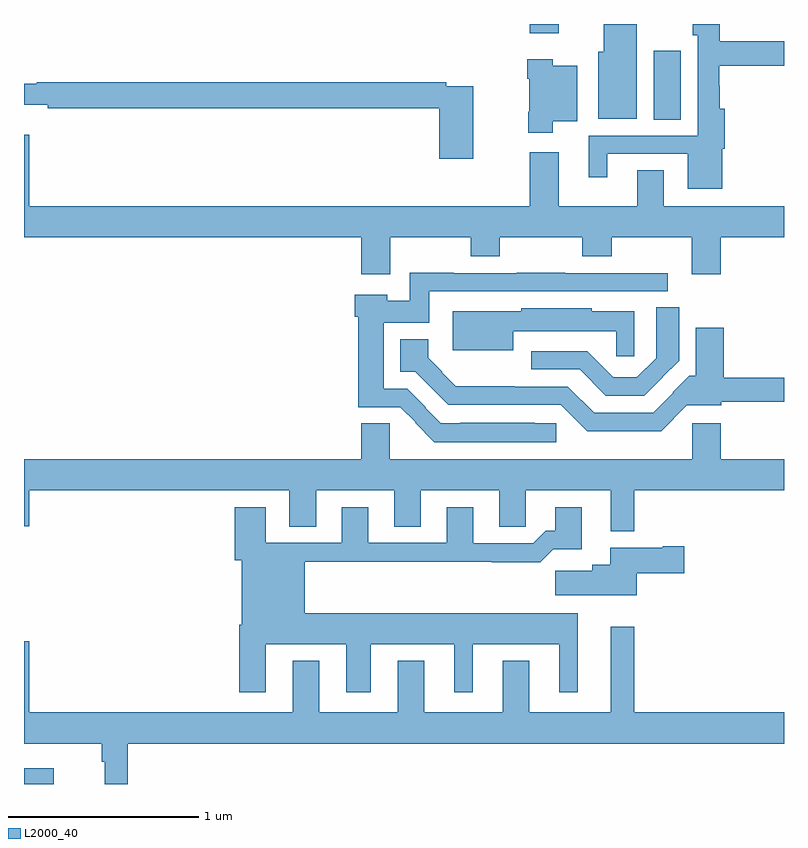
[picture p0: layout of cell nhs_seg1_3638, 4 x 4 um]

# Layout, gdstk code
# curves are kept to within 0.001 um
import gdstk
lib = gdstk.Library(unit=1e-6, precision=1e-09)
def R(c, l, rs):  # rectangles x0, y0, x1, y1
    for r in rs: c.add(gdstk.rectangle(r[:2], r[2:], *l))
def P(c, l, *ps):  # polygons
    for p in ps: c.add(gdstk.Polygon(p, *l))
L2000_40 = (2000, 40)

nhs_seg1_3638 = lib.new_cell('nhs_seg1_3638')
R(nhs_seg1_3638, L2000_40, [(309,538.199,309.157,538.282), (312.314,541.696,312.457,542.059), (311.663,542.151,311.815,542.199)])
P(nhs_seg1_3638, L2000_40, [(312.676,541.542),(312.689,541.542),(312.689,541.753),(312.662,541.753),(312.662,541.875),(312.658,541.875),(312.658,541.978),(313,541.978),(313,542.107),(312.662,542.107),(312.662,542.199),(312.52,542.199),(312.52,542.139),(312.546,542.139),(312.546,541.611),(311.972,541.611),(311.972,541.392),(312.07,541.392),(312.07,541.515),(312.494,541.515),(312.494,541.331),(312.676,541.331)],
  [(312.226,542.199),(312.05,542.199),(312.05,542.052),(312.023,542.052),(312.023,541.7),(312.226,541.7)],
  [(311.782,541.688),(311.911,541.688),(311.911,541.978),(311.782,541.978),(311.782,542.014),(311.648,542.014),(311.648,541.91),(311.66,541.91),(311.66,541.738),(311.653,541.738),(311.653,541.626),(311.782,541.626)],
  [(311.364,541.872),(311.222,541.872),(311.222,541.892),(309.068,541.892),(309.068,541.885),(309,541.885),(309,541.775),(309.124,541.775),(309.124,541.756),(311.186,541.756),(311.186,541.491),(311.364,541.491)],
  [(309.028,541.615),(309,541.615),(309,541.076),(310.775,541.076),(310.775,540.882),(310.927,540.882),(310.927,541.076),(311.35,541.076),(311.35,540.977),(311.505,540.977),(311.505,541.076),(311.938,541.076),(311.938,540.977),(312.093,540.977),(312.093,541.076),(312.515,541.076),(312.515,540.882),(312.668,540.882),(312.668,541.076),(313,541.076),(313,541.24),(312.367,541.24),(312.367,541.43),(312.227,541.43),(312.227,541.24),(311.815,541.24),(311.815,541.525),(311.663,541.525),(311.663,541.24),(309.028,541.24)],
  [(311.8,540.099),(311.193,540.099),(311.112,540.18),(311.114,540.182),(311.017,540.279),(310.894,540.279),(310.894,540.626),(311.134,540.626),(311.134,540.792),(312.388,540.792),(312.388,540.888),(311.849,540.888),(311.849,540.89),(311.593,540.89),(311.593,540.888),(311.261,540.888),(311.261,540.89),(311.03,540.89),(311.03,540.742),(310.912,540.742),(310.912,540.775),(310.742,540.775),(310.742,540.657),(310.76,540.657),(310.76,540.183),(310.98,540.183),(311.061,540.102),(311.059,540.1),(311.16,539.999),(311.8,539.999)],
  [(312.361,540.339),(312.448,540.427),(312.448,540.707),(312.327,540.707),(312.327,540.441),(312.225,540.339),(312.102,540.339),(311.964,540.477),(311.67,540.477),(311.67,540.381),(311.924,540.381),(312.062,540.243),(312.265,540.243)],
  [(312.212,540.688),(311.988,540.688),(311.988,540.703),(311.616,540.703),(311.616,540.688),(311.256,540.688),(311.256,540.482),(311.575,540.482),(311.575,540.581),(312.118,540.581),(312.118,540.45),(312.212,540.45)],
  [(312.489,540.192),(312.67,540.192),(312.67,540.21),(313,540.21),(313,540.338),(312.683,540.338),(312.683,540.601),(312.536,540.601),(312.536,540.349),(312.502,540.349),(312.414,540.261),(312.417,540.258),(312.312,540.153),(312,540.153),(311.862,540.291),(311.582,540.291),(311.582,540.293),(311.273,540.293),(311.198,540.367),(311.201,540.37),(311.128,540.443),(311.128,540.541),(310.979,540.541),(310.979,540.368),(311.059,540.368),(311.234,540.195),(311.826,540.195),(311.965,540.056),(312.353,540.056)],
  [(310.926,540.098),(310.775,540.098),(310.775,539.908),(309,539.908),(309,539.556),(309.028,539.556),(309.028,539.744),(310.397,539.744),(310.397,539.554),(310.537,539.554),(310.537,539.744),(310.949,539.744),(310.949,539.554),(311.089,539.554),(311.089,539.744),(311.501,539.744),(311.501,539.554),(311.64,539.554),(311.64,539.744),(312.089,539.744),(312.089,539.528),(312.211,539.528),(312.211,539.744),(313,539.744),(313,539.908),(312.668,539.908),(312.668,540.099),(312.517,540.099),(312.517,539.908),(310.926,539.908)],
  [(310.273,538.934),(310.697,538.934),(310.697,538.683),(310.825,538.683),(310.825,538.934),(311.264,538.934),(311.264,538.683),(311.362,538.683),(311.362,538.934),(311.816,538.934),(311.816,538.683),(311.914,538.683),(311.914,539.098),(310.477,539.098),(310.477,539.368),(311.461,539.368),(311.461,539.366),(311.717,539.366),(311.786,539.435),(311.935,539.435),(311.935,539.656),(311.795,539.656),(311.795,539.533),(311.746,539.533),(311.679,539.466),(311.365,539.466),(311.365,539.656),(311.225,539.656),(311.225,539.469),(310.813,539.469),(310.813,539.656),(310.673,539.656),(310.673,539.469),(310.273,539.469),(310.273,539.656),(310.109,539.656),(310.109,539.376),(310.145,539.376),(310.145,539.038),(310.133,539.038),(310.133,538.683),(310.273,538.683)],
  [(312.226,539.309),(312.475,539.309),(312.475,539.451),(312.362,539.451),(312.362,539.443),(312.086,539.443),(312.086,539.353),(311.99,539.353),(311.99,539.321),(311.796,539.321),(311.796,539.192),(312.226,539.192)],
  [(309.545,538.412),(313,538.412),(313,538.576),(312.211,538.576),(312.211,539.026),(312.089,539.026),(312.089,538.576),(311.659,538.576),(311.659,538.849),(311.519,538.849),(311.519,538.576),(311.107,538.576),(311.107,538.849),(310.967,538.849),(310.967,538.576),(310.555,538.576),(310.555,538.849),(310.415,538.849),(310.415,538.576),(309.028,538.576),(309.028,538.951),(309,538.951),(309,538.412),(309.409,538.412),(309.409,538.316),(309.424,538.316),(309.424,538.199),(309.545,538.199)])

lib.write_gds('nhs_seg1_3638.gds')
